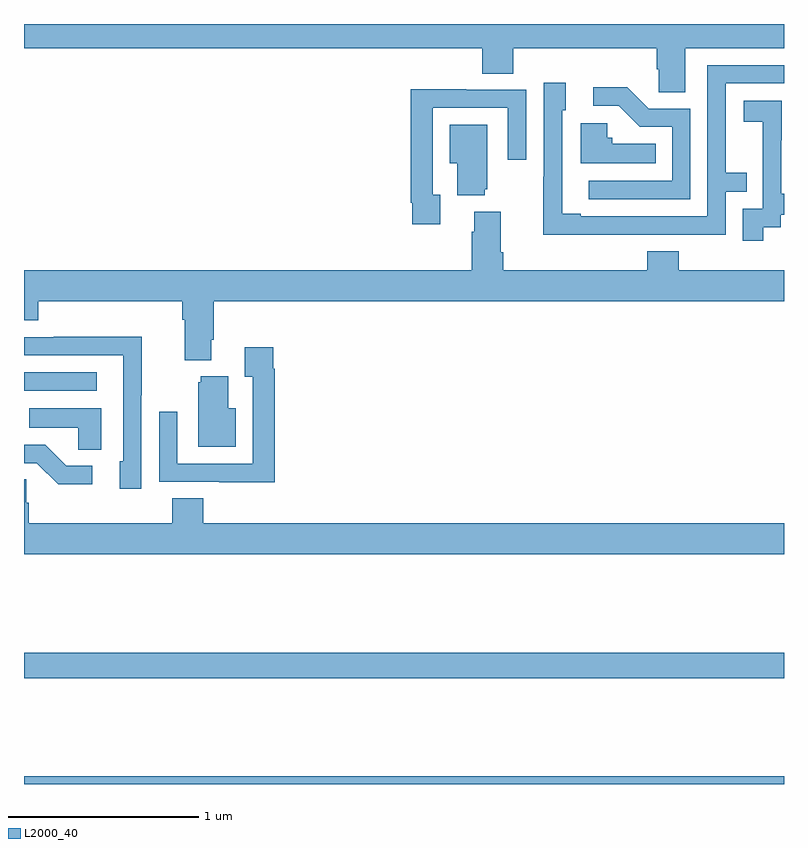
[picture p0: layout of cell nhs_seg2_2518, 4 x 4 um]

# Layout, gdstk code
import gdstk
lib = gdstk.Library(unit=1e-6, precision=1e-09)
def R(c, l, rs):  # rectangles x0, y0, x1, y1
    for r in rs: c.add(gdstk.rectangle(r[:2], r[2:], *l))
def P(c, l, *ps):  # polygons
    for p in ps: c.add(gdstk.Polygon(p, *l))
L2000_40 = (2000, 40)

nhs_seg2_2518 = lib.new_cell('nhs_seg2_2518')
R(nhs_seg2_2518, L2000_40, [(243,607.8,247,607.84), (243,608.356,247,608.492), (243,609.87,243.382,609.966)])
P(nhs_seg2_2518, L2000_40, [(246.481,611.672),(247,611.672),(247,611.8),(243,611.8),(243,611.672),(245.411,611.672),(245.411,611.539),(245.576,611.539),(245.576,611.672),(246.329,611.672),(246.329,611.563),(246.342,611.563),(246.342,611.44),(246.481,611.44)],
  [(246.197,610.692),(246.693,610.692),(246.693,610.917),(246.803,610.917),(246.803,611.018),(246.693,611.018),(246.693,611.487),(247,611.487),(247,611.583),(246.597,611.583),(246.597,610.788),(245.929,610.788),(245.929,610.801),(245.832,610.801),(245.832,611.346),(245.851,611.346),(245.851,611.491),(245.736,611.491),(245.736,610.997),(245.734,610.997),(245.734,610.691),(246.197,610.691)],
  [(246.507,611.355),(246.288,611.355),(246.175,611.468),(245.997,611.468),(245.997,611.37),(246.131,611.37),(246.242,611.259),(246.411,611.259),(246.411,610.974),(245.973,610.974),(245.973,610.878),(246.507,610.878)],
  [(245.191,610.902),(245.151,610.902),(245.151,611.358),(245.547,611.358),(245.547,611.085),(245.643,611.085),(245.643,611.454),(245.327,611.454),(245.327,611.456),(245.035,611.456),(245.035,610.858),(245.043,610.858),(245.043,610.746),(245.191,610.746)],
  [(246.892,610.729),(246.984,610.729),(246.984,610.797),(247,610.797),(247,610.906),(246.986,610.906),(246.986,611.189),(246.987,611.189),(246.987,611.395),(246.789,611.395),(246.789,611.285),(246.887,611.285),(246.887,611.057),(246.888,611.057),(246.888,610.827),(246.783,610.827),(246.783,610.659),(246.892,610.659)],
  [(246.326,611.17),(246.096,611.17),(246.096,611.202),(246.069,611.202),(246.069,611.278),(245.93,611.278),(245.93,611.066),(246.326,611.066)],
  [(245.426,610.929),(245.437,610.929),(245.437,611.269),(245.24,611.269),(245.24,611.066),(245.279,611.066),(245.279,610.898),(245.426,610.898)],
  [(243.985,610.138),(243.998,610.138),(243.998,610.34),(247,610.34),(247,610.504),(246.446,610.504),(246.446,610.603),(246.281,610.603),(246.281,610.504),(245.522,610.504),(245.522,610.6),(245.509,610.6),(245.509,610.813),(245.369,610.813),(245.369,610.706),(245.357,610.706),(245.357,610.504),(243,610.504),(243,610.241),(243.074,610.241),(243.074,610.34),(243.833,610.34),(243.833,610.244),(243.845,610.244),(243.845,610.031),(243.985,610.031)],
  [(243.618,609.847),(243.621,609.847),(243.621,610.154),(243.157,610.154),(243.157,610.152),(243,610.152),(243,610.056),(243.522,610.056),(243.522,609.498),(243.503,609.498),(243.503,609.354),(243.618,609.354)],
  [(244.319,609.986),(244.312,609.986),(244.312,610.099),(244.163,610.099),(244.163,609.943),(244.203,609.943),(244.203,609.486),(243.807,609.486),(243.807,609.76),(243.711,609.76),(243.711,609.39),(244.027,609.39),(244.027,609.389),(244.319,609.389)],
  [(244.114,609.778),(244.075,609.778),(244.075,609.946),(243.929,609.946),(243.929,609.915),(243.917,609.915),(243.917,609.575),(244.114,609.575)],
  [(243.406,609.778),(243.028,609.778),(243.028,609.674),(243.285,609.674),(243.285,609.559),(243.406,609.559)],
  [(243.358,609.474),(243.223,609.474),(243.112,609.585),(243,609.585),(243,609.489),(243.066,609.489),(243.179,609.377),(243.358,609.377)],
  [(247,609.172),(243.944,609.172),(243.944,609.305),(243.779,609.305),(243.779,609.172),(243.026,609.172),(243.026,609.281),(243.012,609.281),(243.012,609.404),(243,609.404),(243,609.008),(247,609.008)])

lib.write_gds('nhs_seg2_2518.gds')
